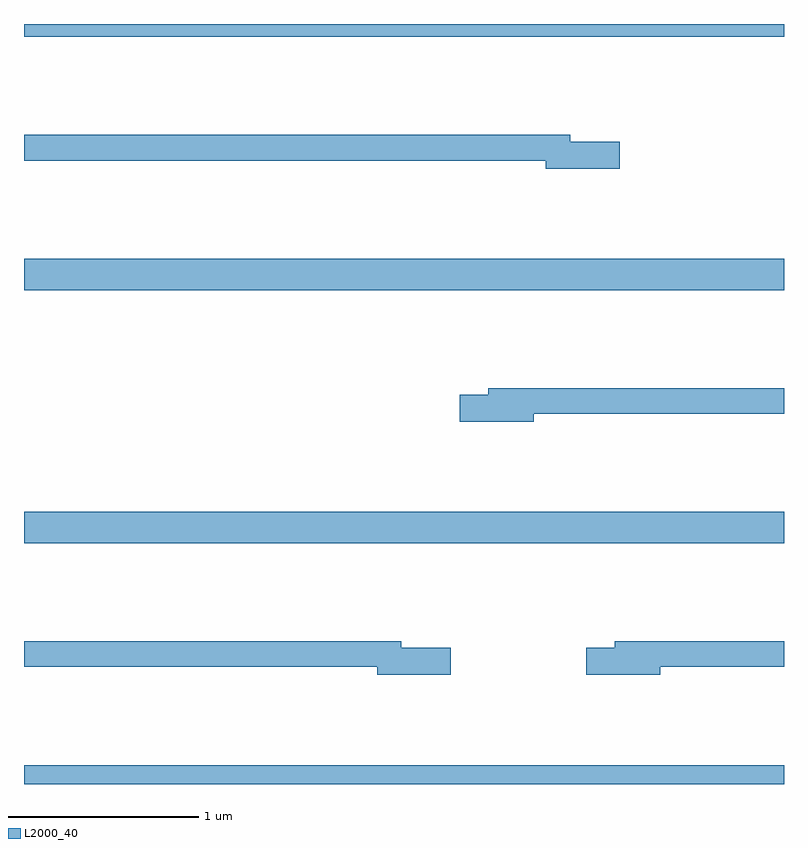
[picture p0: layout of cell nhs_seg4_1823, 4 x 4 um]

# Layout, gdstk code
import gdstk
lib = gdstk.Library(unit=1e-6, precision=1e-09)
def R(c, l, rs):  # rectangles x0, y0, x1, y1
    for r in rs: c.add(gdstk.rectangle(r[:2], r[2:], *l))
def P(c, l, *ps):  # polygons
    for p in ps: c.add(gdstk.Polygon(p, *l))
L2000_40 = (2000, 40)

nhs_seg4_1823 = lib.new_cell('nhs_seg4_1823')
R(nhs_seg4_1823, L2000_40, [(205,780.9,209,781), (205,782.168,209,782.332), (205,783.5,209,783.664), (205,784.832,209,784.9)])
P(nhs_seg4_1823, L2000_40, [(208.135,784.28),(207.874,784.28),(207.874,784.316),(205,784.316),(205,784.18),(207.746,784.18),(207.746,784.138),(208.135,784.138)],
  [(207.682,782.848),(209,782.848),(209,782.984),(207.443,782.984),(207.443,782.948),(207.294,782.948),(207.294,782.806),(207.682,782.806)],
  [(208.348,781.516),(209,781.516),(209,781.652),(208.109,781.652),(208.109,781.616),(207.96,781.616),(207.96,781.474),(208.348,781.474)],
  [(207.247,781.616),(206.986,781.616),(206.986,781.652),(205,781.652),(205,781.516),(206.858,781.516),(206.858,781.474),(207.247,781.474)])

lib.write_gds('nhs_seg4_1823.gds')
